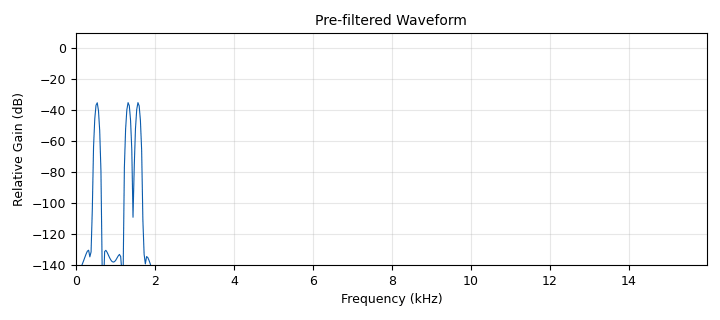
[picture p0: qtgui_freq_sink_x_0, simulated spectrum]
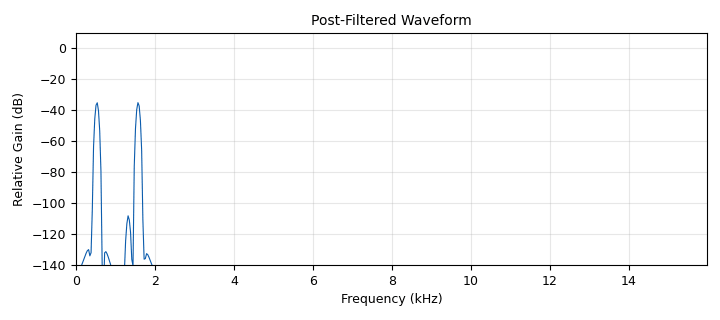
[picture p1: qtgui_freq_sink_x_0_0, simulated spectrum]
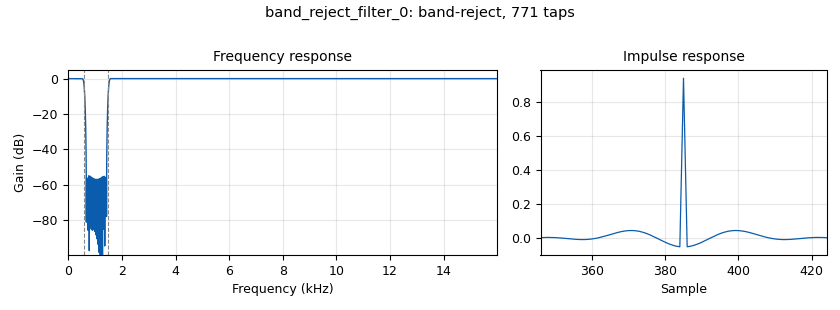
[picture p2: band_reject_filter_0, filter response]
options:
  parameters:
    category: Custom
    generate_options: qt_gui
    id: top_block
    output_language: python
  states: {}

blocks:
- name: high_cutoff
  id: variable_qtgui_entry
  parameters:
    type: real
    value: '1500'
  states: {}
- name: low_cutoff
  id: variable_qtgui_entry
  parameters:
    type: real
    value: '600'
  states: {}
- name: samp_rate
  id: variable
  parameters:
    value: '32000'
  states: {}
- name: transition_width
  id: variable_qtgui_entry
  parameters:
    type: real
    value: '100'
  states: {}
- name: analog_sig_source_x_0
  id: analog_sig_source_x
  parameters:
    amp: '0.1'
    comment: C5
    freq: '523.25'
    offset: '0'
    phase: '0'
    samp_rate: samp_rate
    type: float
    waveform: analog.GR_COS_WAVE
  states: {}
- name: analog_sig_source_x_0_0
  id: analog_sig_source_x
  parameters:
    amp: '0.1'
    comment: G6
    freq: '1568'
    offset: '0'
    phase: '0'
    samp_rate: samp_rate
    type: float
    waveform: analog.GR_COS_WAVE
  states: {}
- name: analog_sig_source_x_0_1
  id: analog_sig_source_x
  parameters:
    amp: '0.1'
    comment: E6
    freq: '1318.5'
    offset: '0'
    phase: '0'
    samp_rate: samp_rate
    type: float
    waveform: analog.GR_COS_WAVE
  states: {}
- name: audio_sink_0
  id: audio_sink
  parameters:
    samp_rate: samp_rate
  states: {}
- name: band_reject_filter_0
  id: band_reject_filter
  parameters:
    decim: '1'
    gain: '1'
    high_cutoff_freq: high_cutoff
    low_cutoff_freq: low_cutoff
    samp_rate: samp_rate
    type: fir_filter_fff
    width: transition_width
    win: window.WIN_HAMMING
  states: {}
- name: blocks_add_xx_0
  id: blocks_add_xx
  parameters:
    num_inputs: '3'
    type: float
  states: {}
- name: qtgui_freq_sink_x_0
  id: qtgui_freq_sink_x
  parameters:
    bw: samp_rate
    fc: '0'
    fftsize: '1024'
    freqhalf: 'False'
    name: '"Pre-filtered Waveform"'
    showports: 'True'
    type: float
  states: {}
- name: qtgui_freq_sink_x_0_0
  id: qtgui_freq_sink_x
  parameters:
    bw: samp_rate
    fc: '0'
    fftsize: '1024'
    freqhalf: 'False'
    name: '"Post-Filtered Waveform"'
    showports: 'True'
    type: float
  states: {}

connections:
- [analog_sig_source_x_0, '0', blocks_add_xx_0, '0']
- [analog_sig_source_x_0_0, '0', blocks_add_xx_0, '2']
- [analog_sig_source_x_0_1, '0', blocks_add_xx_0, '1']
- [band_reject_filter_0, '0', audio_sink_0, '0']
- [band_reject_filter_0, '0', qtgui_freq_sink_x_0_0, '0']
- [blocks_add_xx_0, '0', band_reject_filter_0, '0']
- [blocks_add_xx_0, '0', qtgui_freq_sink_x_0, '0']

metadata:
  file_format: 1
  grc_version: 3.10.9.2
